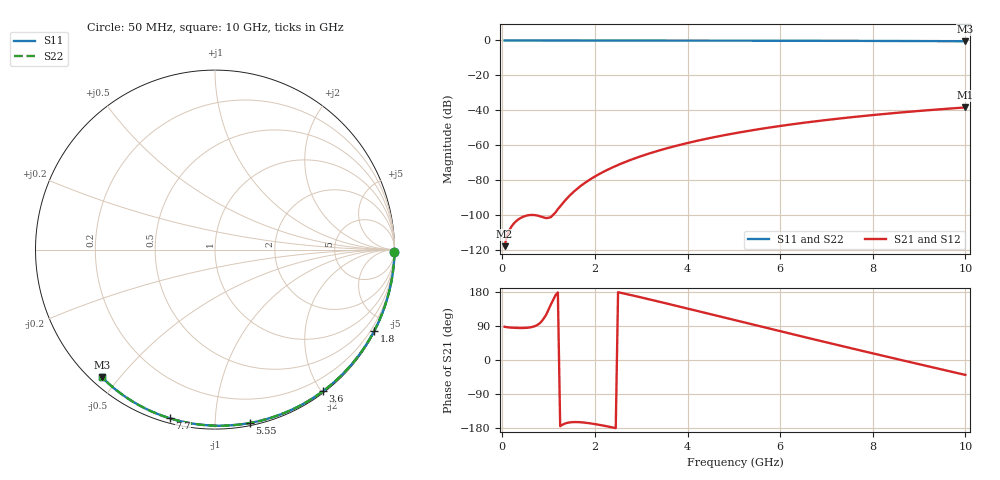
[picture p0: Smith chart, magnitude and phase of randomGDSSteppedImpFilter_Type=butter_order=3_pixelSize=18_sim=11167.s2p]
! freq	dB(S11)	phase(S11)	dB(S12)	phase(S12)
!  dB(S21)	phase(S21)	dB(S22)	phase(S22)
!S-par simulation data
#  GHz  S  DB  R 50
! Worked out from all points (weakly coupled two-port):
!   200 points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, 50 MHz to 10 GHz, reference 50 ohm
!   highest |S21| = -38.43 dB at 10 GHz (marker M1); lowest = -118.0 dB at 50 MHz (marker M2)
!   lowest |S11| = -0.4 dB at 10 GHz (marker M3), VSWR 39.05, Z = 1.54 - j22.5 ohm
!   |S11| at or under -10 dB: nowhere
!   |S22| runs from -0.4 to 0.0 dB; largest |S21 - S12| = 0
!   S11 on the Smith chart (normalised r, x): 50 MHz: open; 1.8 GHz: 0.04, -4.18; 3.6 GHz: 0.02, -2.02; 5.55 GHz: 0.02, -1.22; 7.7 GHz: 0.02, -0.77; 10 GHz: 0.03, -0.45
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0.05  -0.00 -0.8  -118.01 87.8  -118.01 87.8  -0.00 -0.8
0.9  -0.02 -13.6  -101.60 110.4  -101.60 110.4  -0.02 -13.6
1.75  -0.03 -26.2  -82.35 -164.9  -82.35 -164.9  -0.03 -26.2
1.8  -0.03 -26.9  -81.40 -165.6  -81.40 -165.6  -0.03 -26.9
1.85  -0.04 -27.7  -80.51 -166.3  -80.51 -166.3  -0.04 -27.7
1.9  -0.04 -28.4  -79.66 -167.2  -79.66 -167.2  -0.04 -28.4
2.05  -0.04 -30.6  -77.27 -170.1  -77.27 -170.1  -0.04 -30.6
2.25  -0.04 -33.5  -74.47 -174.7  -74.47 -174.7  -0.04 -33.5
2.45  -0.05 -36.4  -71.99 -179.8  -71.99 -179.8  -0.05 -36.4
2.65  -0.05 -39.3  -69.76 174.9  -69.76 174.9  -0.05 -39.3
3  -0.06 -44.3  -66.35 165.1  -66.35 165.1  -0.06 -44.3
3.4  -0.07 -49.9  -63.02 153.5  -63.02 153.5  -0.07 -49.9
3.6  -0.07 -52.7  -61.52 147.6  -61.52 147.6  -0.07 -52.7
4.3  -0.09 -62.2  -57.01 126.8  -57.01 126.8  -0.09 -62.2
5.05  -0.11 -72.2  -53.09 104.4  -53.09 104.4  -0.11 -72.2
5.55  -0.13 -78.7  -50.86 89.4  -50.86 89.4  -0.13 -78.7
6.1  -0.15 -85.6  -48.68 73.1  -48.68 73.1  -0.15 -85.6
6.7  -0.18 -93.1  -46.58 55.3  -46.58 55.3  -0.18 -93.1
7.7  -0.24 -105.1  -43.59 26.1  -43.59 26.1  -0.24 -105.1
8.35  -0.29 -112.6  -41.92 7.4  -41.92 7.4  -0.29 -112.6
9.15  -0.36 -121.8  -40.11 -15.4  -40.11 -15.4  -0.36 -121.8
10  -0.44 -131.4  -38.43 -39.4  -38.43 -39.4  -0.44 -131.4
